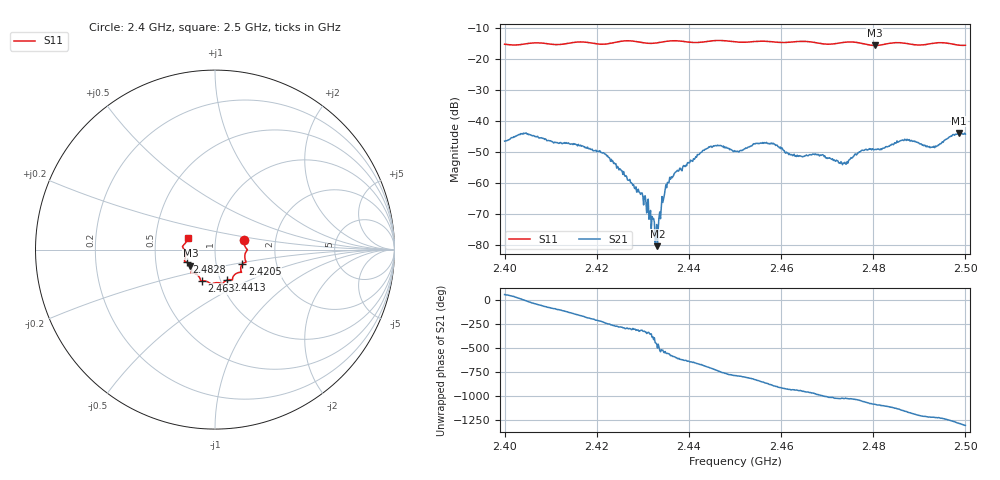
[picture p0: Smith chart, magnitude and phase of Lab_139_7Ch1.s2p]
# Hz S RI R 50
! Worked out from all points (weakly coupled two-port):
!   601 points, 2.4 GHz to 2.5 GHz, reference 50 ohm
!   highest |S21| = -43.95 dB at 2.4987 GHz (marker M1); lowest = -80.5 dB at 2.4332 GHz (marker M2)
!   lowest |S11| = -15.7 dB at 2.4803 GHz (marker M3), VSWR 1.39, Z = 37.4 - j6.85 ohm
!   |S11| at or under -10 dB: start of sweep to end of sweep
!   S12 and S22 are empty: the file has one direction only
!   S11 on the Smith chart (normalised r, x): 2.4 GHz: 1.38, +0.15; 2.4205 GHz: 1.34, -0.22; 2.4413 GHz: 1.08, -0.38; 2.463 GHz: 0.82, -0.29; 2.4828 GHz: 0.72, -0.10; 2.5 GHz: 0.73, +0.10
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2.4e9  0.1631 0.0524  0.00257 0.00391  0 0  0 0
2.4045e9  0.1736 0.00655  0.00624 -0.000637  0 0  0 0
2.416667e9  0.1734 -0.0696  -0.00371 -0.00109  0 0  0 0
2.4205e9  0.1519 -0.0808  -0.00258 0.00189  0 0  0 0
2.4295e9  0.1334 -0.1275  0.000462 0.000453  0 0  0 0
2.433167e9  0.1012 -0.15  -7e-05 -6.32e-05  0 0  0 0
2.433333e9  0.1004 -0.1513  -2.5e-05 -0.000179  0 0  0 0
2.4355e9  0.0977 -0.1661  -0.000958 0.000302  0 0  0 0
2.441333e9  0.0676 -0.1697  0.000962 0.00228  0 0  0 0
2.445667e9  0.0423 -0.1918  0.00395 -0.000213  0 0  0 0
2.45e9  0.0247 -0.1857  0.00136 -0.00291  0 0  0 0
2.4565e9  -0.023 -0.1903  -0.00332 -0.00286  0 0  0 0
2.463e9  -0.072 -0.1738  -0.00222 0.0015  0 0  0 0
2.466667e9  -0.0816 -0.1674  -0.0012 0.00254  0 0  0 0
2.473667e9  -0.1301 -0.1303  0.00112 0.00174  0 0  0 0
2.480333e9  -0.1373 -0.0892  0.00341 -8.23e-05  0 0  0 0
2.482833e9  -0.1585 -0.0701  0.00354 -0.00144  0 0  0 0
2.483333e9  -0.1626 -0.0681  0.00344 -0.00178  0 0  0 0
2.487333e9  -0.1677 -0.0535  0.000965 -0.00492  0 0  0 0
2.492833e9  -0.1767 0.00851  -0.00272 -0.00262  0 0  0 0
2.498667e9  -0.1589 0.0455  -0.0059 0.00235  0 0  0 0
2.5e9  -0.1521 0.0641  -0.00455 0.00403  0 0  0 0
